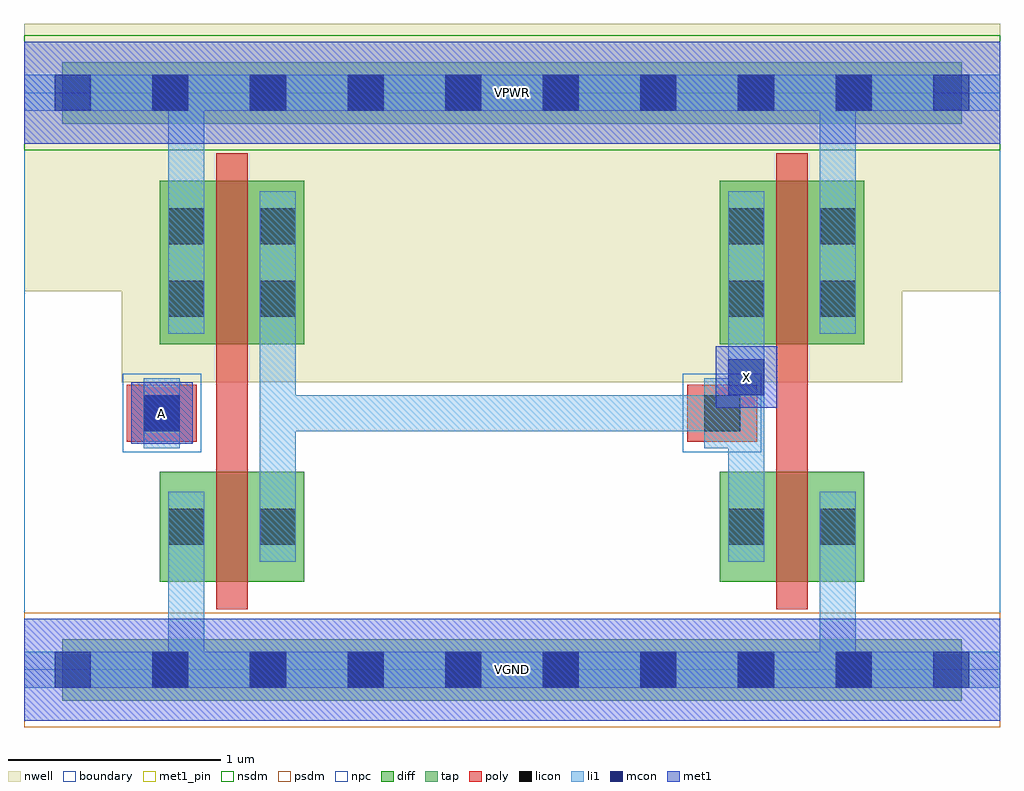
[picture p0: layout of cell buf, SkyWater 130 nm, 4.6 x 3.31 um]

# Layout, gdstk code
import gdstk
lib = gdstk.Library(unit=1e-6, precision=1e-09)
def R(c, l, rs):  # rectangles x0, y0, x1, y1
    for r in rs: c.add(gdstk.rectangle(r[:2], r[2:], *l))
def A(c, l, x, y, w, h, nx, ny, dx, dy):  # array of equal rectangles
    R(c, l, [(x+i*dx, y+j*dy, x+i*dx+w, y+j*dy+h) for i in range(nx) for j in range(ny)])
nwell = (64, 20)
diff = (65, 20)
tap = (65, 44)
poly = (66, 20)
licon = (66, 44)
li1 = (67, 20)
mcon = (67, 44)
met1_pin = (68, 16)
met1 = (68, 20)
nsdm = (93, 44)
psdm = (94, 20)
npc = (95, 20)
boundary = (235, 4)

buf = lib.new_cell('buf')
R(buf, nwell, [(0.46,1.355,4.14,2.485), (0,1.785,4.6,3.045)])
R(buf, diff, [(0.64,0.415,1.32,0.935), (3.28,0.415,3.96,0.935), (0.64,1.535,1.32,2.305), (3.28,1.535,3.96,2.305)])
R(buf, tap, [(0.18,-0.145,4.42,0.145), (0.18,2.575,4.42,2.865)])
R(buf, poly, [(0.905,0.285,1.055,2.435), (3.545,0.285,3.695,2.435), (0.485,1.075,0.815,1.345), (3.125,1.075,3.455,1.345)])
A(buf, licon, 0.605, -0.085, 0.17, 0.17, 8, 2, 0.46, 2.72)
R(buf, licon, [(0.68,0.59,0.85,0.76), (1.11,0.59,1.28,0.76), (3.32,0.59,3.49,0.76), (3.75,0.59,3.92,0.76), (0.565,1.125,0.735,1.295), (3.205,1.125,3.375,1.295), (0.68,1.665,0.85,1.835), (1.11,1.665,1.28,1.835), (3.32,1.665,3.49,1.835), (3.75,1.665,3.92,1.835), (0.68,2.005,0.85,2.175), (1.11,2.005,1.28,2.175), (3.32,2.005,3.49,2.175), (3.75,2.005,3.92,2.175)])
R(buf, li1, [(0,-0.085,4.6,0.085), (0.68,-0.085,0.85,0.84), (3.75,-0.085,3.92,0.84), (0.68,0.51,0.85,0.84), (1.11,0.51,1.28,0.84), (1.11,0.51,1.28,2.255), (3.32,0.51,3.49,0.84), (3.32,0.51,3.49,2.255), (3.75,0.51,3.92,0.84), (0.565,1.045,0.735,1.375), (3.205,1.045,3.375,1.375), (1.11,1.125,3.375,1.295), (0.68,1.585,0.85,2.255), (0.68,1.585,0.85,2.805), (1.11,1.585,1.28,2.255), (3.32,1.585,3.49,2.255), (3.75,1.585,3.92,2.255), (3.75,1.585,3.92,2.805), (0,2.635,4.6,2.805)])
A(buf, mcon, 0.145, -0.085, 0.17, 0.17, 10, 2, 0.46, 2.72)
R(buf, mcon, [(0.565,1.125,0.735,1.295), (3.32,1.295,3.49,1.465)])
R(buf, met1_pin, [(0,-0.24,4.6,0.24), (0.505,1.065,0.795,1.355), (3.26,1.235,3.55,1.525), (0,2.48,4.6,2.96)])
R(buf, met1, [(0,-0.24,4.6,0.24), (0.505,1.065,0.795,1.355), (3.26,1.235,3.55,1.525), (0,2.48,4.6,2.96)])
R(buf, nsdm, [(0,2.45,4.6,2.99)])
R(buf, psdm, [(0,-0.27,4.6,0.27)])
R(buf, npc, [(0.465,1.025,0.835,1.395), (3.105,1.025,3.475,1.395)])
R(buf, boundary, [(0,0,4.6,2.72)])
buf.add(gdstk.Label('A', (0.65,1.21), layer=68, texttype=5))
buf.add(gdstk.Label('X', (3.405,1.38), layer=68, texttype=5))
buf.add(gdstk.Label('VPWR', (2.3,2.72), layer=68, texttype=5))
buf.add(gdstk.Label('VGND', (2.3,0), layer=68, texttype=5))
buf.add(gdstk.Label('A', (0.65,1.21), layer=68, texttype=16))
buf.add(gdstk.Label('X', (3.405,1.38), layer=68, texttype=16))
buf.add(gdstk.Label('VPWR', (2.3,2.72), layer=68, texttype=16))
buf.add(gdstk.Label('VGND', (2.3,0), layer=68, texttype=16))

lib.write_gds('buf.gds')
